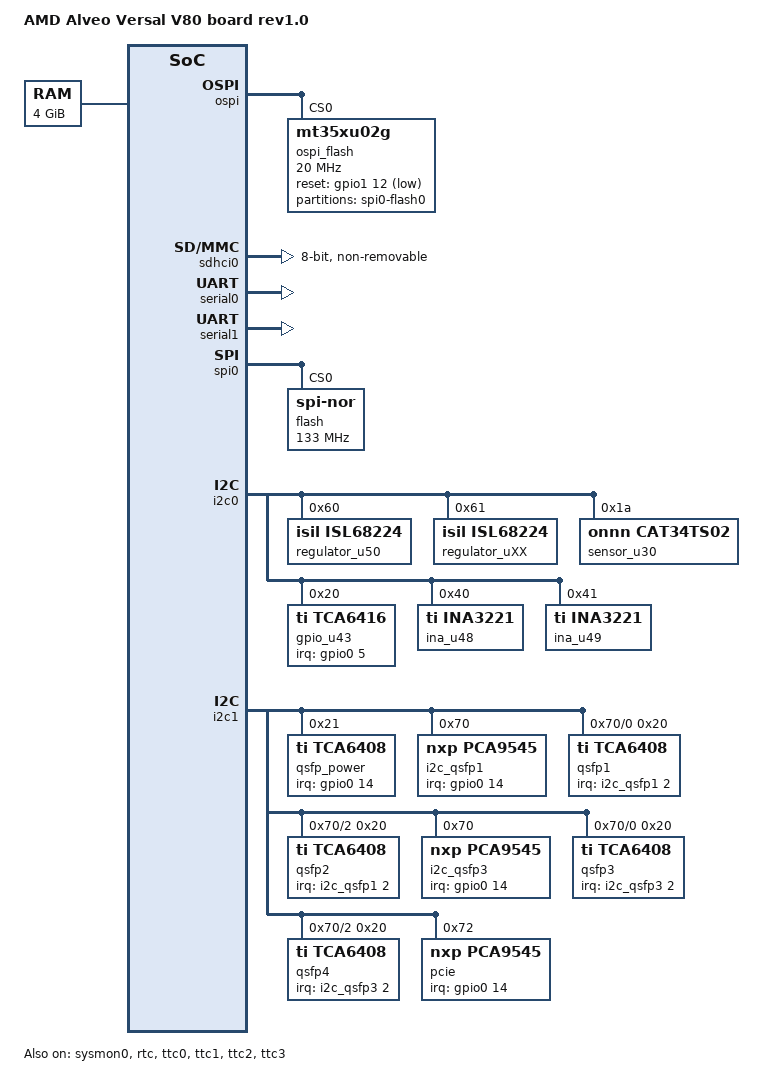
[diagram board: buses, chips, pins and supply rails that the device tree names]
// SPDX-License-Identifier: GPL-2.0
/*
 * dts file for AMD Alveo Versal V80 rev1.0
 *
 * Copyright (C) 2023 - 2024, Advanced Micro Devices, Inc.
 *
 * Michal Simek <michal.simek@amd.com>
 * Sandeep Gundlupet Raju <sandeep.gundlupet-raju@amd.com>
 */

#include <dt-bindings/gpio/gpio.h>
#include "versal.dtsi"
#include "versal-clk.dtsi"

/ {
	compatible = "xlnx,versal-v80-rev1.0", "xlnx,versal";
	model = "AMD Alveo Versal V80 board rev1.0";

	aliases {
		serial0 = &serial0;
		serial1 = &serial1;
		i2c0 = &i2c0;
		i2c1 = &i2c1;
		mmc0 = &sdhci0;
		spi0 = &ospi;
		rtc0 = &rtc;
	};

	memory: memory@0 {
		device_type = "memory"; /* 32GB total on the board */
		reg = <0 0 0 0x80000000>, <0x8 0x0 0x0 0x80000000>; /* 2GB + 2GB */
	};

	chosen {
		bootargs = "earlycon";
		stdout-path = "serial0:115200";
	};
};

&ospi { /* PMC_MIO0-10 MT35XU02G */
	status = "okay";
	compatible = "xlnx,versal-ospi-1.0", "cdns,qspi-nor";
	bus-num = <2>;
	num-cs = <1>;
	#address-cells = <1>;
	#size-cells = <0>;

	ospi_flash: flash@0 {
		compatible = "mt35xu02g", "micron,m25p80", "jedec,spi-nor";
		reg = <0>;
		#address-cells = <1>;
		#size-cells = <1>;
		cdns,read-delay = <0>;
		cdns,tshsl-ns = <0>;
		cdns,tsd2d-ns = <0>;
		cdns,tchsh-ns = <1>;
		cdns,tslch-ns = <1>;
		spi-tx-bus-width = <8>;
		spi-rx-bus-width = <8>;
		spi-max-frequency = <20000000>;
		no-wp;
		reset-gpios = <&gpio1 12 GPIO_ACTIVE_LOW>;
		partition@0 {
			label = "spi0-flash0";
			reg = <0 0x8000000>;
		};
	};
};

&sdhci0 { /* PMC_MIO13-23, 64GB eMMC */
	status = "okay";
	non-removable;
	disable-wp;
	no-sd;
	no-sdio;
	cap-mmc-hw-reset;
	bus-width = <8>;
	xlnx,mio-bank = <0>;
};

&serial0 { /* PS_MIO8/9 */
	status = "okay";
};

&serial1 { /* PS_MIO20/21 */
	status = "okay";
};

&sysmon0 {
        status = "okay";
};

&spi0 { /* PS_MIO12-17, PS_MIO15 */
	/*one CS*/
	status = "okay";

	flash@0 { /* MX25L3233 */
		compatible = "jedec,spi-nor";
		spi-max-frequency = <133000000>;
		reg = <0>;
	};
};

/* XPIO - m24c64 0x50 - ipmi fru */

&i2c0 { /* PS_MIO2/3 i2c MAIN */
	status = "okay";
	
	/*
	 * sit95141a - 0x9 - u115
	 * rc19013a - 0x6c - u99
	 * temp sensor - DNP - 0x48 - u27
	 */

	regulator_u50: regulator@60 { /* u50 */
		compatible = "isil,isl68224";
		reg = <0x60>;
	};

	regulator_uXX: regulator@61 { /* uXX - missing number */
		compatible = "isil,isl68224";
		reg = <0x61>;
	};

	/* Also eeprom at 0x52 */
	sensor_u30: temp-sensor@1a { /* u30 */
		compatible = "onnn,cat34ts02", "jedec,jc-42.4-temp";
		reg = <0x1a>;
	};

	gpio_u43: gpio@20 { /* u43 */
		compatible = "ti,tca6416";
		reg = <0x20>;
		gpio-controller;
		#gpio-cells = <2>;
		interrupt-parent = <&gpio0>;
		interrupts = <5 GPIO_ACTIVE_LOW>;
		/* reset-gpio = <4 GPIO_ACTIVE_LOW>; */ /* shared reset line */
		gpio-line-names = "TCRITn", "EN_VCC_FUSE", /* 0, 1 */
				"FRU_EEPRM_WP", "PCIE_SMB_LT_EN", /* 2, 3 */
				"IOEXP_POR_B", "CG_CONFI_GPIO0", /* 4, 5 */
				"EN_DIMM", "DMB_PRSNT_B", /* 6, 7 */
				"12V_AUX1_SENSE0_N", "12V_AUX1_SENSE1_N", /* 8, 9 */
				"12V_AUX2_SENSE0_N", "12V_AUX2_SENSE1_N", /* 10, 11 */
				"PG_3V3_QSFP", "DIMM_PWRGD", /* 12, 13 */
				"BRD_PWRGD", "HBM_PWRGD"; /* 14, 15 */
	};

	ina_u48: power-sensor@40 { /* u48 */
		compatible = "ti,ina3221";
		reg = <0x40>;
		#address-cells = <1>;
		#size-cells = <0>;
		input@0 {
			reg = <0>;
			label = "VR_12V";
			shunt-resistor-micro-ohms = <2000>;
		};
		input@1 {
			reg = <1>;
			label = "VR_3V3";
			shunt-resistor-micro-ohms = <2000>;
		};
		input@2 {
			reg = <2>;
			label = "VR_3V3_QSFP";
			shunt-resistor-micro-ohms = <2000>;
		};
	};

	ina_u49: power-sensor@41 { /* u49 */
		compatible = "ti,ina3221";
		reg = <0x41>;
		#address-cells = <1>;
		#size-cells = <0>;
		input@0 {
			reg = <0>;
			label = "VR_1V2_VCCO_DIMM";
			shunt-resistor-micro-ohms = <2000>;
		};
		input@1 {
			reg = <1>;
			label = "VR_12V_AUX1";
			shunt-resistor-micro-ohms = <2000>;
		};
		input@2 {
			reg = <2>;
			label = "VR_12V_AUX2";
			shunt-resistor-micro-ohms = <2000>;
		};
	};
};

&i2c1 { /* PS_MIO0/1 */
	status = "okay";
	qsfp_power: gpio@21 { /* u16 */
		compatible = "ti,tca6408";
		reg = <0x21>;
		gpio-controller;
		#gpio-cells = <2>;
		interrupt-parent = <&gpio0>;
		interrupts = <14 GPIO_ACTIVE_LOW>;
		/* reset-gpio = <13 GPIO_ACTIVE_LOW>; */ /* shared reset line */
		gpio-line-names = "EN_3V3_QSFP1", "EN_3V3_QSFP2", /* 0, 1 */
				"EN_3V3_QSFP3", "EN_3V3_QSFP4", /* 2, 3 */
				"PG_3V3_QSFP1", "PG_3V3_QSFP2", /* 4, 5 */
				"PG_3V3_QSFP3", "PG_3V3_QSFP4"; /* 6, 7 */
	};

	i2c_qsfp1: i2c-mux@70 { /* u14 */
		compatible = "nxp,pca9545";
		#address-cells = <1>;
		#size-cells = <0>;
		#interrupt-cells = <2>;
		reg = <0x70>;
		interrupt-parent = <&gpio0>;
		interrupts = <14 GPIO_ACTIVE_LOW>;
		/* reset-gpio = <13 GPIO_ACTIVE_LOW>; */ /* shared reset line */
		interrupt-controller;
		i2c@0 { /* SB */
			#address-cells = <1>;
			#size-cells = <0>;
			reg = <0>;
			qsfp1: gpio@20 { /* u12 */
				compatible = "ti,tca6408";
				reg = <0x20>;
				gpio-controller;
				#gpio-cells = <2>;
				interrupt-parent = <&i2c_qsfp1>;
				interrupts = <2 GPIO_ACTIVE_LOW>;
				gpio-line-names = "QSFP1_MODSELL", "QSFP1_RESETL", /* 0, 1 */
						"QSFP1_LPMODE", "QSFP1_MODPRSL", /* 2, 3 */
						"QSFP1_INTR_B", "", /* 4, 5 */
						"", ""; /* 6, 7 */
			};
		};
		i2c@1 {
			#address-cells = <1>;
			#size-cells = <0>;
			reg = <1>;
			/* j5 - qsfp4 - 0x50 */
		};
	 	i2c@2 { /* SB */
			#address-cells = <1>;
			#size-cells = <0>;
			reg = <2>;
			qsfp2: gpio@20 { /* u13 */
				compatible = "ti,tca6408";
				reg = <0x20>;
				gpio-controller;
				#gpio-cells = <2>;
				interrupt-parent = <&i2c_qsfp1>;
				interrupts = <2 GPIO_ACTIVE_LOW>;
				gpio-line-names = "QSFP2_MODSELL", "QSFP2_RESETL", /* 0, 1 */
						"QSFP2_LPMODE", "QSFP2_MODPRSL", /* 2, 3 */
						"QSFP2_INTR_B", "", /* 4, 5 */
						"", ""; /* 6, 7 */
			};
		};
		i2c@3 {
			#address-cells = <1>;
			#size-cells = <0>;
			reg = <3>;
			/* j7 - qsfp4 - 0x50 */
		};
	};
 
	i2c_qsfp3: i2c-mux@71 { /* u100 */
		compatible = "nxp,pca9545";
		#address-cells = <1>;
		#size-cells = <0>;
		#interrupt-cells = <2>;
		reg = <0x70>;
		interrupt-parent = <&gpio0>;
		interrupts = <14 GPIO_ACTIVE_LOW>;
		/* reset-gpio = <13 GPIO_ACTIVE_LOW>; */ /* shared reset line */
		interrupt-controller;
		i2c@0 { /* SB */
			#address-cells = <1>;
			#size-cells = <0>;
			reg = <0>;
			qsfp3: gpio@20 { /* u11 */
				compatible = "ti,tca6408";
				reg = <0x20>;
				gpio-controller;
				#gpio-cells = <2>;
				interrupt-parent = <&i2c_qsfp3>;
				interrupts = <2 GPIO_ACTIVE_LOW>;
				gpio-line-names = "QSFP3_MODSELL", "QSFP3_RESETL", /* 0, 1 */
						"QSFP3_LPMODE", "QSFP3_MODPRSL", /* 2, 3 */
						"QSFP3_INTR_B", "", /* 4, 5 */
						"", ""; /* 6, 7 */
			};
		};
		i2c@1 {
			#address-cells = <1>;
			#size-cells = <0>;
			reg = <1>;
			/* j3 - qsfp4 - 0x50 */
		};
	 	i2c@2 { /* SB */
			#address-cells = <1>;
			#size-cells = <0>;
			reg = <2>;
			qsfp4: gpio@20 { /* u10 */
				compatible = "ti,tca6408";
				reg = <0x20>;
				gpio-controller;
				#gpio-cells = <2>;
				interrupt-parent = <&i2c_qsfp3>;
				interrupts = <2 GPIO_ACTIVE_LOW>;
				gpio-line-names = "QSFP4_MODSELL", "QSFP4_RESETL", /* 0, 1 */
						"QSFP4_LPMODE", "QSFP4_MODPRSL", /* 2, 3 */
						"QSFP4_INTR_B", "", /* 4, 5 */
						"", ""; /* 6, 7 */
			};
		};
		i2c@3 {
			#address-cells = <1>;
			#size-cells = <0>;
			reg = <3>;
			/* j1 - qsfp4 - 0x50 */
		};
	};

	pcie: i2c-mux@72 { /* u109 */
		compatible = "nxp,pca9545";
		#address-cells = <1>;
		#size-cells = <0>;
		#interrupt-cells = <2>;
		reg = <0x72>;
		interrupt-parent = <&gpio0>;
		interrupts = <14 GPIO_ACTIVE_LOW>;
		/* reset-gpio = <13 GPIO_ACTIVE_LOW>; */ /* shared reset line */
		interrupt-controller;
		/*
		 * port 0 i2c_pcie_exp1
		 * port 1 i2c_pcie_exp2
		 * port 2 i2c_pcie_exp3
		 * port 3 i2c_spd_dimm + CH0_DDR4_0_1_EVENT_B
		 */
	};
};

&rtc {
	status = "okay";
};

&gpio0 {
	status = "okay";
	gpio-line-names = "I2C_QSFP_SCL", "I2C_QSFP_SDA", "I2C_MAIN_SCL", "I2C_MAIN_SDA", "I2C_MAIN_RST_B", /* 0 - 4 */
			  "I2C_MAIN_INTR_B", "QSFP4_IOEXP_RST", "QSFP3_IOEXP_RST", "LPD_UART0_RXD", "LPD_UART0_TXD", /* 5 - 9 */
			  "", "", "SPI0_SCLK", "I2C_QSFP_RST_B", "I2C_QSFP_INTR_B", /* 10 - 14 */
			  "SPI0_CS_B", "SPI0_MISO", "SPI0_MOSI", "QSFP1_IOEXP_RST", "QSFP2_IOEXP_RST", /* 15 - 19 */
			  "LPD_UART1_TXD", "LPD_UART1_RXD", "BOARD_STATUS_LED_R", "BOARD_STATUS_LED_G", "BOARD_STATUS_LED_B", /* 20 - 24 */
			  "", /* 25 */
			  "", "", "", "", /* 26 - 29 */
			  "", "", "", "", "", /* 30 - 34 */
			  "", "", "", "", "", /* 35 - 39 */
			  "", "", "", "", "", /* 40 - 44 */
			  "", "", "", "", "", /* 45 - 49 */
			  "", "", "", "", "", /* 50 - 54 */
			  "", "", ""; /* 55 - 57 */
};

&gpio1 {
	status = "okay";
	/* PMC_MIO11 is BOARD_ID: 0-V80, 1-V80P */
	gpio-line-names = "", "", "", "", "", /* 0 - 4 */
			  "", "", "", "", "", /* 5 - 9 */
			  "", "BOARD_ID", "OSPI_RESET_B", "", "", /* 10 - 14 */
			  "", "", "", "", "", /* 15 - 19 */
			  "", "", "", "", "PCIE_RST1_B", /* 20 - 24 */
			  "PCIE_RST2_B", "QSFP4_ACT_LED", "QSFP4_LNK_GR_LED", "QSFP4_LNK_YL_LED", "EN_3V3_MCIO", /* 25 - 29 */
			  "QSFP3_ACT_LED", "QSFP3_LNK_GR_LED", "QSFP3_LNK_YL_LED", "PG_3V3_MCIO", "QSFP1_ACT_LED", /* 30 - 34 */
			  "QSFP1_LNK_GR_LED", "QSFP1_LNK_YL_LED", "", "QSFP2_ACT_LED", "QSFP2_LNK_GR_LED", /* 35 - 39 */
			  "QSFP2_LNK_YL_LED", "PG_12V_AUX2", "PCIE_EXP1_PERSTB", "PCIE_EXP2_PERSTB", "PCIE_EXP3_PERSTB", /* 40 - 44 */
			  "MCIO_P2_FLEXIO0_BUF", "PMC_UART1_TXD", "PMC_UART1_RXD", "PCIE_EXP1_CPRSNTB", "PCIE_EXP2_CPRSNTB", /* 45 - 49 */
			  "PCIE_EXP3_CPRSNTB", "USB_PRES", /* 50 - 51 */
			  "", "", "", /* 52 - 54 */
			  "", "", "", "", "", /* 55 - 59 */
			  "", "", "", "", "", /* 60 - 64 */
			  "", "", "", "", "", /* 65 - 69 */
			  "", "", "", "", "", /* 70 - 74 */
			  "", "", "", "", "", /* 75 - 79 */
			  "", "", "", "", "", /* 80 - 84 */
			  "", "", "", "", "", /* 85 - 89 */
			  "", "", "", "", "", /* 90 - 94 */
			  "", "", "", "", "", /* 95 - 99 */
			  "", "", "", "", "", /* 100 - 104 */
			  "", "", "", "", "", /* 105 - 109 */
			  "", "", "", "", "", /* 110 - 114 */
			  ""; /* 115 */
};

&ttc0 {
	status = "okay";
};

&ttc1 {
	status = "okay";
};

&ttc2 {
	status = "okay";
};

&ttc3 {
	status = "okay";
};

/* cpm5 reset PMC_MIO24/25 */
